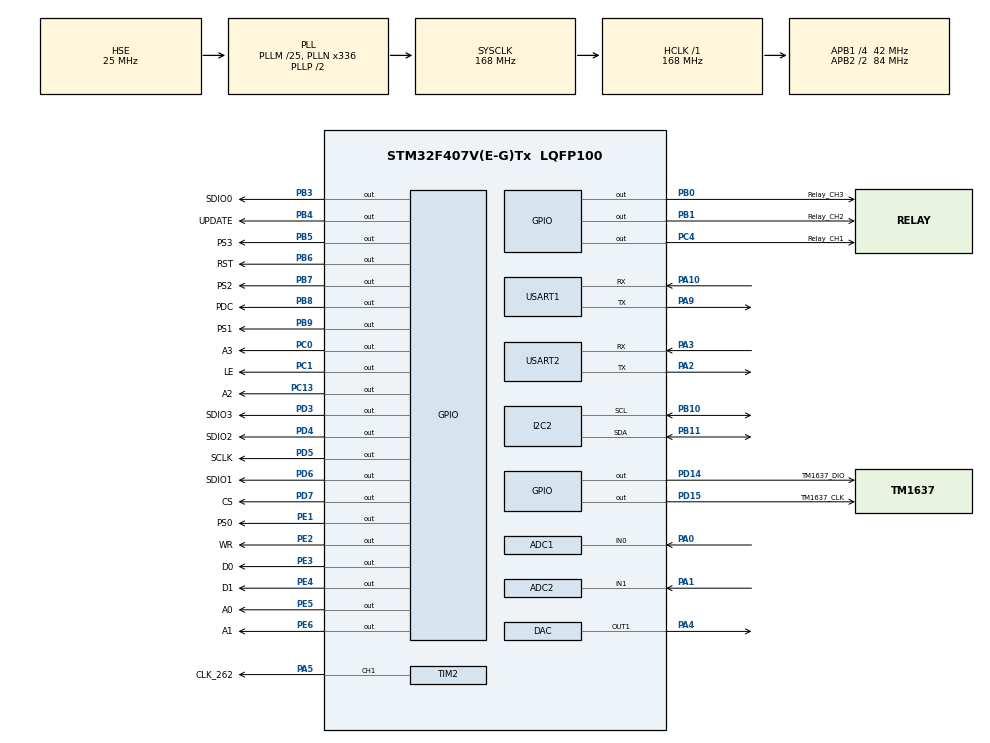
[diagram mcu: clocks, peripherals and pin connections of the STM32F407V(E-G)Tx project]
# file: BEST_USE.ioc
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ADC1.Channel-0\#ChannelRegularConversion=ADC_CHANNEL_0
ADC1.ExternalTrigConv=ADC_EXTERNALTRIGCONV_T3_TRGO
ADC1.NbrOfConversionFlag=1
ADC1.Rank-0\#ChannelRegularConversion=1
ADC1.SamplingTime-0\#ChannelRegularConversion=ADC_SAMPLETIME_3CYCLES
ADC1.master=1
ADC2.Channel-1\#ChannelRegularConversion=ADC_CHANNEL_1
ADC2.ExternalTrigConv=ADC_EXTERNALTRIGCONV_T3_TRGO
ADC2.NbrOfConversionFlag=1
ADC2.Rank-1\#ChannelRegularConversion=1
ADC2.SamplingTime-1\#ChannelRegularConversion=ADC_SAMPLETIME_3CYCLES
DAC.DAC_OutputBuffer=DAC_OUTPUTBUFFER_DISABLE
DAC.DAC_Trigger=DAC_TRIGGER_T6_TRGO
Dma.ADC1.2.Direction=DMA_PERIPH_TO_MEMORY
Dma.ADC1.2.FIFOMode=DMA_FIFOMODE_DISABLE
Dma.ADC1.2.Instance=DMA2_Stream0
Dma.ADC1.2.MemDataAlignment=DMA_MDATAALIGN_HALFWORD
Dma.ADC1.2.MemInc=DMA_MINC_ENABLE
Dma.ADC1.2.Mode=DMA_NORMAL
Dma.ADC1.2.PeriphDataAlignment=DMA_PDATAALIGN_HALFWORD
Dma.ADC1.2.PeriphInc=DMA_PINC_DISABLE
Dma.ADC1.2.Priority=DMA_PRIORITY_LOW
Dma.ADC2.4.Direction=DMA_PERIPH_TO_MEMORY
Dma.ADC2.4.FIFOMode=DMA_FIFOMODE_DISABLE
Dma.ADC2.4.Instance=DMA2_Stream3
Dma.ADC2.4.MemDataAlignment=DMA_MDATAALIGN_HALFWORD
Dma.ADC2.4.MemInc=DMA_MINC_ENABLE
Dma.ADC2.4.Mode=DMA_NORMAL
Dma.ADC2.4.PeriphDataAlignment=DMA_PDATAALIGN_HALFWORD
Dma.ADC2.4.PeriphInc=DMA_PINC_DISABLE
Dma.ADC2.4.Priority=DMA_PRIORITY_LOW
Dma.DAC1.3.Direction=DMA_MEMORY_TO_PERIPH
Dma.DAC1.3.FIFOMode=DMA_FIFOMODE_DISABLE
Dma.DAC1.3.Instance=DMA1_Stream5
Dma.DAC1.3.MemDataAlignment=DMA_MDATAALIGN_HALFWORD
Dma.DAC1.3.MemInc=DMA_MINC_ENABLE
Dma.DAC1.3.Mode=DMA_CIRCULAR
Dma.DAC1.3.PeriphDataAlignment=DMA_PDATAALIGN_HALFWORD
Dma.DAC1.3.PeriphInc=DMA_PINC_DISABLE
Dma.DAC1.3.Priority=DMA_PRIORITY_LOW
Dma.Request0=USART1_RX
Dma.Request1=USART1_TX
Dma.Request2=ADC1
Dma.Request3=DAC1
Dma.Request4=ADC2
Dma.USART1_RX.0.Direction=DMA_PERIPH_TO_MEMORY
Dma.USART1_RX.0.FIFOMode=DMA_FIFOMODE_DISABLE
Dma.USART1_RX.0.Instance=DMA2_Stream2
Dma.USART1_RX.0.MemDataAlignment=DMA_MDATAALIGN_BYTE
Dma.USART1_RX.0.MemInc=DMA_MINC_ENABLE
Dma.USART1_RX.0.Mode=DMA_NORMAL
Dma.USART1_RX.0.PeriphDataAlignment=DMA_PDATAALIGN_BYTE
Dma.USART1_RX.0.PeriphInc=DMA_PINC_DISABLE
Dma.USART1_RX.0.Priority=DMA_PRIORITY_LOW
Dma.USART1_TX.1.Direction=DMA_MEMORY_TO_PERIPH
Dma.USART1_TX.1.FIFOMode=DMA_FIFOMODE_DISABLE
Dma.USART1_TX.1.Instance=DMA2_Stream7
Dma.USART1_TX.1.MemDataAlignment=DMA_MDATAALIGN_BYTE
Dma.USART1_TX.1.MemInc=DMA_MINC_ENABLE
Dma.USART1_TX.1.Mode=DMA_NORMAL
Dma.USART1_TX.1.PeriphDataAlignment=DMA_PDATAALIGN_BYTE
Dma.USART1_TX.1.PeriphInc=DMA_PINC_DISABLE
Dma.USART1_TX.1.Priority=DMA_PRIORITY_LOW
Mcu.Family=STM32F4
Mcu.Name=STM32F407V(E-G)Tx
Mcu.Package=LQFP100
NVIC.DMA1_Stream5_IRQn=true\:0\:0\:false\:false\:true\:false\:true\:true
NVIC.DMA2_Stream0_IRQn=true\:0\:0\:false\:false\:true\:false\:true\:true
NVIC.DMA2_Stream2_IRQn=true\:0\:0\:false\:false\:true\:false\:true\:true
NVIC.DMA2_Stream3_IRQn=true\:0\:0\:false\:false\:true\:false\:true\:true
NVIC.DMA2_Stream7_IRQn=true\:0\:0\:false\:false\:true\:false\:true\:true
NVIC.PriorityGroup=NVIC_PRIORITYGROUP_4
NVIC.USART1_IRQn=true\:0\:0\:false\:false\:true\:true\:true\:true
NVIC.USART2_IRQn=true\:0\:0\:false\:false\:true\:true\:true\:true
PA0-WKUP.Signal=ADCx_IN0
PA1.Signal=ADCx_IN1
PA10.Mode=Asynchronous
PA10.Signal=USART1_RX
PA13.Mode=Serial_Wire
PA13.Signal=SYS_JTMS-SWDIO
PA14.Mode=Serial_Wire
PA14.Signal=SYS_JTCK-SWCLK
PA2.Mode=Asynchronous
PA2.Signal=USART2_TX
PA3.Mode=Asynchronous
PA3.Signal=USART2_RX
PA4.Signal=COMP_DAC1_group
PA5.GPIO_Label=CLK_262
PA5.Signal=S_TIM2_CH1_ETR
PA9.Mode=Asynchronous
PA9.Signal=USART1_TX
PB0.GPIO_Label=Relay_CH3
PB0.Signal=GPIO_Output
PB1.GPIO_Label=Relay_CH2
PB1.Signal=GPIO_Output
PB10.Mode=I2C
PB10.Signal=I2C2_SCL
PB11.Mode=I2C
PB11.Signal=I2C2_SDA
PB3.GPIO_Label=SDIO0
PB3.Signal=GPIO_Output
PB4.GPIO_Label=UPDATE
PB4.Signal=GPIO_Output
PB5.GPIO_Label=PS3
PB5.Signal=GPIO_Output
PB6.GPIO_Label=RST
PB6.Signal=GPIO_Output
PB7.GPIO_Label=PS2
PB7.Signal=GPIO_Output
PB8.GPIO_Label=PDC
PB8.Signal=GPIO_Output
PB9.GPIO_Label=PS1
PB9.Signal=GPIO_Output
PC0.GPIO_Label=A3
PC0.Signal=GPIO_Output
PC1.GPIO_Label=LE
PC1.Signal=GPIO_Output
PC13-ANTI_TAMP.GPIO_Label=A2
PC13-ANTI_TAMP.Signal=GPIO_Output
PC14-OSC32_IN.Mode=LSE-External-Oscillator
PC14-OSC32_IN.Signal=RCC_OSC32_IN
PC15-OSC32_OUT.Mode=LSE-External-Oscillator
PC15-OSC32_OUT.Signal=RCC_OSC32_OUT
PC4.GPIO_Label=Relay_CH1
PC4.Signal=GPIO_Output
PD14.GPIO_Label=TM1637_DIO
PD14.PinState=GPIO_PIN_SET
PD14.Signal=GPIO_Output
PD15.GPIO_Label=TM1637_CLK
PD15.PinState=GPIO_PIN_SET
PD15.Signal=GPIO_Output
PD3.GPIO_Label=SDIO3
PD3.Signal=GPIO_Output
PD4.GPIO_Label=SDIO2
PD4.Signal=GPIO_Output
PD5.GPIO_Label=SCLK
PD5.Signal=GPIO_Output
PD6.GPIO_Label=SDIO1
PD6.Signal=GPIO_Output
PD7.GPIO_Label=CS
PD7.Signal=GPIO_Output
PE1.GPIO_Label=PS0
PE1.Signal=GPIO_Output
PE2.GPIO_Label=WR
PE2.Signal=GPIO_Output
PE3.GPIO_Label=D0
PE3.Signal=GPIO_Output
PE4.GPIO_Label=D1
PE4.Signal=GPIO_Output
PE5.GPIO_Label=A0
PE5.Signal=GPIO_Output
PE6.GPIO_Label=A1
PE6.Signal=GPIO_Output
PH0-OSC_IN.Mode=HSE-External-Oscillator
PH0-OSC_IN.Signal=RCC_OSC_IN
PH1-OSC_OUT.Mode=HSE-External-Oscillator
PH1-OSC_OUT.Signal=RCC_OSC_OUT
ProjectManager.HeapSize=0x200
ProjectManager.StackSize=0x400
ProjectManager.TargetToolchain=MDK-ARM V5.32
RCC.48MHZClocksFreq_Value=84000000
RCC.AHBFreq_Value=168000000
RCC.APB1CLKDivider=RCC_HCLK_DIV4
RCC.APB1Freq_Value=42000000
RCC.APB1TimFreq_Value=84000000
RCC.APB2CLKDivider=RCC_HCLK_DIV2
RCC.APB2Freq_Value=84000000
RCC.APB2TimFreq_Value=168000000
RCC.CortexFreq_Value=168000000
RCC.HCLKFreq_Value=168000000
RCC.HSE_VALUE=25000000
RCC.HSI_VALUE=16000000
RCC.PLLM=25
RCC.PLLN=336
RCC.PLLSourceVirtual=RCC_PLLSOURCE_HSE
RCC.SYSCLKFreq_VALUE=168000000
RCC.SYSCLKSource=RCC_SYSCLKSOURCE_PLLCLK
RCC.VCOOutputFreq_Value=336000000
SH.ADCx_IN0.0=ADC1_IN0,IN0
SH.ADCx_IN1.0=ADC2_IN1,IN1
SH.COMP_DAC1_group.0=DAC_OUT1,DAC_OUT1
SH.S_TIM2_CH1_ETR.0=TIM2_CH1,PWM Generation1 CH1
TIM2.Channel-PWM\ Generation1\ CH1=TIM_CHANNEL_1
TIM2.Period=1142
TIM2.Pulse-PWM\ Generation1\ CH1=300
TIM3.Period=420-1
TIM3.Prescaler=10-1
TIM3.TIM_MasterOutputTrigger=TIM_TRGO_UPDATE
TIM6.Period=84-1
TIM6.TIM_MasterOutputTrigger=TIM_TRGO_UPDATE
USART1.VirtualMode=VM_ASYNC
USART2.VirtualMode=VM_ASYNC
VP_TIM3_VS_ClockSourceINT.Mode=Internal
VP_TIM6_VS_ClockSourceINT.Mode=Enable_Timer
board=custom

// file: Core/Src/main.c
/* USER CODE BEGIN Header */
/**
  ******************************************************************************
  * @file           : main.c
  * @brief          : Main program body
  ******************************************************************************
  * @attention
  *
  * Copyright (c) 2026 STMicroelectronics.
  * All rights reserved.
  *
  * This software is licensed under terms that can be found in the LICENSE file
  * in the root directory of this software component.
  * If no LICENSE file comes with this software, it is provided AS-IS.
  *
  ******************************************************************************
  */
/* USER CODE END Header */
#include "main.h"
#include "adc.h"
#include "dac.h"
#include "dma.h"
#include "i2c.h"
#include "tim.h"
#include "usart.h"
#include "gpio.h"
#include "delay.h"
#include "../MY_DSP/MY_262/MAX262.h"
#include <stdio.h>
#include <stdarg.h>
#include <math.h>
#include "si5351.h"
#include "ad9959.h"
#include "../MY_DSP/MY_Uart/frequency_control.h"
#include "../MY_DSP/MY_Uart/amplitude_control.h"
#include "../MY_DSP/MY_DDS_FUN/9959_scan.h"
#include "../MY_DSP/MY_FFT/Phase.h"
#include "ZPN_Hmi_Pack.h"
#include "ZPN_Uart.h"
#include "ZPN_Hmi.h"

/* USER CODE BEGIN Includes */
extern ADC_HandleTypeDef hadc1;

/* USER CODE END Includes */

/* USER CODE BEGIN PTD */
/* FilterFeature_t and model enum are defined in 9959_scan.h */

/* USER CODE END PTD */

/* USER CODE BEGIN PD */
#define MHZ(x)    ((uint32_t)((x) * 1000000UL))
#define KHZ(x)    ((uint32_t)((x) * 1000UL))
#define HZ(x)     ((uint32_t)(x))
#define CMD_STATE1_CONTROL     0x04  // 状态1的原切换或控制位 (可根据需要调整)
#define CMD_RESET_OUTPUT       0x09
#define CMD_SCAN_IDENTIFY_ALT  0x05  // 扫频启动命令改为 0x05
#define CMD_CLONE_MODE_START   0x06  // 切换到模式4（模仿输出）
#define CMD_SCAN_IDENTIFY_ALT_START 0x05
#define CMD_STATE_OFF          0x00
#define CMD_STATE_ON           0x01
#define DDS_STATE_1           1U
#define DDS_STATE_2           2U
#define DDS_STATE_3           3U  // 扫频状态
#define DDS_STATE_4           4U  // 模仿输出模式 (发挥部分)
#define DEFAULT_FREQUENCY_HZ  50000U
#define DEFAULT_AMPLITUDE_VAL 1023U
#define DEFAULT_PHASE_VAL     0U
#define STATE2_FREQUENCY_HZ   1000U
// 按标定关系 1023 -> 6080mV，2V 对应约 337 码。
#define STATE2_AMPLITUDE_VAL  337U

/* ===== 二维增益打表结构（频率 × 幅值 → DDS控制码）===== */
/* 打表范围：100Hz-3000Hz(步长100Hz)，1000mV-2000mV(步长100mV) */
typedef struct {
    uint32_t freq_hz;      // 频率 (Hz)
    uint16_t amplitude_mv; // 幅值 (mV)
    uint16_t dds_code;     // AD9959 幅度控制码
} GainTableEntry_2D_t;

/* 打表参数定义 */
#define GAIN_TABLE_2D_FREQ_MIN     100U
#define GAIN_TABLE_2D_FREQ_MAX     3000U
#define GAIN_TABLE_2D_FREQ_STEP    100U
#define GAIN_TABLE_2D_FREQ_COUNT   30U    // (3000-100)/100 + 1 = 30

#define GAIN_TABLE_2D_AMP_MIN      1000U
#define GAIN_TABLE_2D_AMP_MAX      2000U
#define GAIN_TABLE_2D_AMP_STEP     100U
#define GAIN_TABLE_2D_AMP_COUNT    11U    // (2000-1000)/100 + 1 = 11

#define GAIN_TABLE_2D_TOTAL        330U   // 30 * 11 = 330

/* 二维增益打表 - 330个数据点 */
/* 组织方式：按频率外层循环，幅值内层循环 */
/* 已按 5_6_400_2700_1V-2V_fittedout1.xlsx 填充：100Hz-3000Hz */
static const GainTableEntry_2D_t g_gain_table_2d[GAIN_TABLE_2D_TOTAL] = {
  /* 100Hz */ {100, 1000, 81}, {100, 1100, 91}, {100, 1200, 93}, {100, 1300, 103}, {100, 1400, 113}, {100, 1500, 123}, {100, 1600, 133}, {100, 1700, 143}, {100, 1800, 145}, {100, 1900, 155}, {100, 2000, 165},
  /* 200Hz */ {200, 1000, 81}, {200, 1100, 91}, {200, 1200, 93}, {200, 1300, 103}, {200, 1400, 113}, {200, 1500, 123}, {200, 1600, 133}, {200, 1700, 143}, {200, 1800, 153}, {200, 1900, 163}, {200, 2000, 165},
  /* 300Hz */ {300, 1000, 81}, {300, 1100, 93}, {300, 1200, 101}, {300, 1300, 111}, {300, 1400, 121}, {300, 1500, 137}, {300, 1600, 144}, {300, 1700, 151}, {300, 1800, 164}, {300, 1900, 171}, {300, 2000, 181},
  /* 400Hz */ {400, 1000, 89}, {400, 1100, 99}, {400, 1200, 109}, {400, 1300, 119}, {400, 1400, 129}, {400, 1500, 145}, {400, 1600, 149}, {400, 1700, 159}, {400, 1800, 169}, {400, 1900, 179}, {400, 2000, 195},
  /* 500Hz */ {500, 1000, 97}, {500, 1100, 112}, {500, 1200, 122}, {500, 1300, 129}, {500, 1400, 145}, {500, 1500, 157}, {500, 1600, 169}, {500, 1700, 175}, {500, 1800, 189}, {500, 1900, 196}, {500, 2000, 205},
  /* 600Hz */ {600, 1000, 109}, {600, 1100, 119}, {600, 1200, 131}, {600, 1300, 144}, {600, 1400, 158}, {600, 1500, 168}, {600, 1600, 179}, {600, 1700, 192}, {600, 1800, 206}, {600, 1900, 211}, {600, 2000, 229},
  /* 700Hz */ {700, 1000, 118}, {700, 1100, 125}, {700, 1200, 147}, {700, 1300, 155}, {700, 1400, 174}, {700, 1500, 185}, {700, 1600, 203}, {700, 1700, 213}, {700, 1800, 222}, {700, 1900, 233}, {700, 2000, 243},
  /* 800Hz */ {800, 1000, 128}, {800, 1100, 143}, {800, 1200, 160}, {800, 1300, 167}, {800, 1400, 191}, {800, 1500, 201}, {800, 1600, 203}, {800, 1700, 227}, {800, 1800, 243}, {800, 1900, 249}, {800, 2000, 266},
  /* 900Hz */ {900, 1000, 137}, {900, 1100, 155}, {900, 1200, 163}, {900, 1300, 186}, {900, 1400, 198}, {900, 1500, 214}, {900, 1600, 226}, {900, 1700, 241}, {900, 1800, 254}, {900, 1900, 278}, {900, 2000, 287},
  /* 1000Hz */ {1000, 1000, 147}, {1000, 1100, 168}, {1000, 1200, 180}, {1000, 1300, 201}, {1000, 1400, 212}, {1000, 1500, 236}, {1000, 1600, 251}, {1000, 1700, 265}, {1000, 1800, 285}, {1000, 1900, 300}, {1000, 2000, 316},
  /* 1100Hz */ {1100, 1000, 154}, {1100, 1100, 177}, {1100, 1200, 194}, {1100, 1300, 213}, {1100, 1400, 228}, {1100, 1500, 255}, {1100, 1600, 270}, {1100, 1700, 286}, {1100, 1800, 296}, {1100, 1900, 321}, {1100, 2000, 342},
  /* 1200Hz */ {1200, 1000, 176}, {1200, 1100, 183}, {1200, 1200, 215}, {1200, 1300, 221}, {1200, 1400, 235}, {1200, 1500, 265}, {1200, 1600, 283}, {1200, 1700, 314}, {1200, 1800, 315}, {1200, 1900, 347}, {1200, 2000, 370},
  /* 1300Hz */ {1300, 1000, 178}, {1300, 1100, 199}, {1300, 1200, 229}, {1300, 1300, 245}, {1300, 1400, 262}, {1300, 1500, 284}, {1300, 1600, 298}, {1300, 1700, 331}, {1300, 1800, 352}, {1300, 1900, 369}, {1300, 2000, 382},
  /* 1400Hz */ {1400, 1000, 186}, {1400, 1100, 213}, {1400, 1200, 240}, {1400, 1300, 258}, {1400, 1400, 285}, {1400, 1500, 314}, {1400, 1600, 323}, {1400, 1700, 358}, {1400, 1800, 363}, {1400, 1900, 408}, {1400, 2000, 424},
  /* 1500Hz */ {1500, 1000, 199}, {1500, 1100, 233}, {1500, 1200, 259}, {1500, 1300, 279}, {1500, 1400, 301}, {1500, 1500, 327}, {1500, 1600, 343}, {1500, 1700, 385}, {1500, 1800, 413}, {1500, 1900, 434}, {1500, 2000, 439},
  /* 1600Hz */ {1600, 1000, 224}, {1600, 1100, 241}, {1600, 1200, 262}, {1600, 1300, 302}, {1600, 1400, 327}, {1600, 1500, 343}, {1600, 1600, 364}, {1600, 1700, 404}, {1600, 1800, 437}, {1600, 1900, 455}, {1600, 2000, 481},
  /* 1700Hz */ {1700, 1000, 241}, {1700, 1100, 268}, {1700, 1200, 275}, {1700, 1300, 316}, {1700, 1400, 350}, {1700, 1500, 375}, {1700, 1600, 398}, {1700, 1700, 423}, {1700, 1800, 449}, {1700, 1900, 490}, {1700, 2000, 500},
  /* 1800Hz */ {1800, 1000, 240}, {1800, 1100, 284}, {1800, 1200, 306}, {1800, 1300, 333}, {1800, 1400, 360}, {1800, 1500, 385}, {1800, 1600, 428}, {1800, 1700, 451}, {1800, 1800, 481}, {1800, 1900, 508}, {1800, 2000, 542},
  /* 1900Hz */ {1900, 1000, 258}, {1900, 1100, 289}, {1900, 1200, 335}, {1900, 1300, 366}, {1900, 1400, 401}, {1900, 1500, 415}, {1900, 1600, 455}, {1900, 1700, 489}, {1900, 1800, 519}, {1900, 1900, 536}, {1900, 2000, 558},
  /* 2000Hz */ {2000, 1000, 283}, {2000, 1100, 323}, {2000, 1200, 331}, {2000, 1300, 391}, {2000, 1400, 409}, {2000, 1500, 441}, {2000, 1600, 477}, {2000, 1700, 507}, {2000, 1800, 558}, {2000, 1900, 573}, {2000, 2000, 594},
  /* 2100Hz */ {2100, 1000, 288}, {2100, 1100, 332}, {2100, 1200, 373}, {2100, 1300, 391}, {2100, 1400, 435}, {2100, 1500, 468}, {2100, 1600, 491}, {2100, 1700, 539}, {2100, 1800, 564}, {2100, 1900, 605}, {2100, 2000, 630},
  /* 2200Hz */ {2200, 1000, 323}, {2200, 1100, 360}, {2200, 1200, 370}, {2200, 1300, 419}, {2200, 1400, 489}, {2200, 1500, 516}, {2200, 1600, 528}, {2200, 1700, 579}, {2200, 1800, 603}, {2200, 1900, 641}, {2200, 2000, 663},
  /* 2300Hz */ {2300, 1000, 339}, {2300, 1100, 356}, {2300, 1200, 423}, {2300, 1300, 443}, {2300, 1400, 471}, {2300, 1500, 529}, {2300, 1600, 553}, {2300, 1700, 608}, {2300, 1800, 649}, {2300, 1900, 678}, {2300, 2000, 705},
  /* 2400Hz */ {2400, 1000, 337}, {2400, 1100, 371}, {2400, 1200, 439}, {2400, 1300, 474}, {2400, 1400, 513}, {2400, 1500, 548}, {2400, 1600, 597}, {2400, 1700, 633}, {2400, 1800, 667}, {2400, 1900, 700}, {2400, 2000, 765},
  /* 2500Hz */ {2500, 1000, 363}, {2500, 1100, 404}, {2500, 1200, 437}, {2500, 1300, 488}, {2500, 1400, 519}, {2500, 1500, 594}, {2500, 1600, 617}, {2500, 1700, 668}, {2500, 1800, 726}, {2500, 1900, 748}, {2500, 2000, 799},
  /* 2600Hz */ {2600, 1000, 389}, {2600, 1100, 433}, {2600, 1200, 471}, {2600, 1300, 531}, {2600, 1400, 581}, {2600, 1500, 613}, {2600, 1600, 647}, {2600, 1700, 698}, {2600, 1800, 753}, {2600, 1900, 767}, {2600, 2000, 856},
  /* 2700Hz */ {2700, 1000, 395}, {2700, 1100, 451}, {2700, 1200, 475}, {2700, 1300, 544}, {2700, 1400, 597}, {2700, 1500, 650}, {2700, 1600, 665}, {2700, 1700, 727}, {2700, 1800, 791}, {2700, 1900, 822}, {2700, 2000, 859},
  /* 2800Hz */ {2800, 1000, 409}, {2800, 1100, 486}, {2800, 1200, 521}, {2800, 1300, 568}, {2800, 1400, 642}, {2800, 1500, 648}, {2800, 1600, 701}, {2800, 1700, 774}, {2800, 1800, 838}, {2800, 1900, 866}, {2800, 2000, 929},
  /* 2900Hz */ {2900, 1000, 423}, {2900, 1100, 484}, {2900, 1200, 521}, {2900, 1300, 601}, {2900, 1400, 639}, {2900, 1500, 699}, {2900, 1600, 735}, {2900, 1700, 809}, {2900, 1800, 863}, {2900, 1900, 915}, {2900, 2000, 951},
  /* 3000Hz */ {3000, 1000, 451}, {3000, 1100, 514}, {3000, 1200, 555}, {3000, 1300, 619}, {3000, 1400, 675}, {3000, 1500, 748}, {3000, 1600, 771}, {3000, 1700, 838}, {3000, 1800, 890}, {3000, 1900, 961}, {3000, 2000, 996}
};

// 扫频与特性提取参数（后续可通过串口配置）
#if 0
#define SWEEP_POINT_COUNT            60U
#define SWEEP_START_FREQ_HZ          1000U
#define SWEEP_STOP_FREQ_HZ           60000U
#define SWEEP_SAMPLES_PER_POINT      32U
#endif
#define SWEEP_SETTLE_MS            100U
#define SWEEP_OUTPUT_AMPLITUDE_CODE  1023U
#define SWEEP_CHANNEL                0U
#define SWEEP_ENABLE_DEMO            0U
#define SWEEP_PRINT_TEXT             0U
#define SWEEP_EDGE_AVG_POINTS        5U
#define mode      2
#define freq      2
#define Q         0.707
#define channal   3
/* USER CODE END PD */

/* USER CODE BEGIN PV */
static uint8_t g_dds_state = DDS_STATE_1;
static uint32_t last_set_vpp_mv = 2000; // 默认 2000mV
static uint32_t g_last_output_freq_hz = DEFAULT_FREQUENCY_HZ; // 记录当前输出频率，供状态2幅值即时更新
static uint32_t debug_freq_val = 0;     // Debug用：观测当前频率
static uint32_t debug_amp_code = 0;     // Debug用：观测当前幅度码值
volatile uint16_t g_dds_code_watch = 0; // Debug用：在Keil Watch中直接观察当前dds_code
static uint32_t g_sweep_freq[SWEEP_POINT_COUNT];
static uint16_t g_sweep_level[SWEEP_POINT_COUNT];
static FilterFeature_t g_filter_feature = {0};

int progress_state = 0; // 0: 扫频 1:adc采集 3.fft
/* Sweep debug/state variables moved into scan module */

/* USER CODE END PV */

void SystemClock_Config(void);
/* USER CODE BEGIN PFP */
/* Sweep functions moved to 9959_scan module (SCAN_RunAndExtract) */

/* USER CODE END PFP */

/* USER CODE BEGIN 0 */
static void DDS_ApplyDefaultOutput(void)
{
  Write_Frequence(0, DEFAULT_FREQUENCY_HZ);
  Write_Amplitude(0, DEFAULT_AMPLITUDE_VAL);
  Write_Phase(0, DEFAULT_PHASE_VAL);
  AD9959_IO_Update();
}

static void Switch_SetByState(uint8_t state)
{
  if (state == DDS_STATE_1)
  {
    HAL_GPIO_WritePin(switch1_GPIO_Port, switch1_Pin, GPIO_PIN_RESET);
    HAL_GPIO_WritePin(switch2_GPIO_Port, switch2_Pin, GPIO_PIN_RESET);
  }
  else if (state == DDS_STATE_2)
  {
    HAL_GPIO_WritePin(switch1_GPIO_Port, switch1_Pin, GPIO_PIN_RESET);
    HAL_GPIO_WritePin(switch2_GPIO_Port, switch2_Pin, GPIO_PIN_SET);
  }
  else if (state == DDS_STATE_3)
  {
    HAL_GPIO_WritePin(switch1_GPIO_Port, switch1_Pin, GPIO_PIN_SET);
    HAL_GPIO_WritePin(switch2_GPIO_Port, switch2_Pin, GPIO_PIN_SET);
  }
  else if (state == DDS_STATE_4)
  {
    // 模仿输出模式下的继电器/开关状态 (根据需要定义)
    HAL_GPIO_WritePin(switch1_GPIO_Port, switch1_Pin, GPIO_PIN_SET);
    HAL_GPIO_WritePin(switch2_GPIO_Port, switch2_Pin, GPIO_PIN_RESET);
  }
}

static uint8_t Try_HandleScanIdentifyCommand(void)
{
  // 检查是否为命令 0x03。注意：gFrequencyCmd.frequency 也可能是 0x03（取决于发送端数据填充方式）
  if (gFrequencyCmd.cmd == CMD_SCAN_IDENTIFY_ALT)
  {
    uint8_t prev_state = g_dds_state;
    const char *model_text = "SCAN_FAIL";
    g_dds_state = DDS_STATE_3;
    Switch_SetByState(g_dds_state);
    HMI_SetText("t9", "SCANNING");
    if (SCAN_RunAndExtract(&g_filter_feature) != 0U)
    {
      model_text = SCAN_ModelTypeToString(g_filter_feature.model_type);
    }
    HMI_SetText("t9", model_text);
    g_dds_state = prev_state;
    Switch_SetByState(g_dds_state);
    DDS_ApplyDefaultOutput();
    gFrequencyCmd.cmd = 0U;
    gFrequencyCmd.frequency = 0U;
    return 1U;
  }
  return 0U;
}

/* Sweep implementation moved to Core/MY_DSP/MY_DDS_FUN/9959_scan.c */

/**
 * @brief 二维打表查询函数：根据频率和幅值查表获取DDS控制码
 * @param freq_hz: 输入频率 (Hz)
 * @param amplitude_mv: 输入幅值 (mV)
 * @return DDS 幅度控制码 (0 表示查表失败或超出范围)
 */
static uint16_t GainTable_2D_Lookup(uint32_t freq_hz, uint16_t amplitude_mv)
{
    // 1. 范围检查
    if (freq_hz < GAIN_TABLE_2D_FREQ_MIN || freq_hz > GAIN_TABLE_2D_FREQ_MAX ||
        amplitude_mv < GAIN_TABLE_2D_AMP_MIN || amplitude_mv > GAIN_TABLE_2D_AMP_MAX)
    {
        return 0;  // 超出范围
    }

    // 2. 频率量化到最近的打表点（四舍五入）
    uint32_t freq_offset = freq_hz - GAIN_TABLE_2D_FREQ_MIN;
    uint16_t freq_idx = (freq_offset + GAIN_TABLE_2D_FREQ_STEP / 2) / GAIN_TABLE_2D_FREQ_STEP;
    if (freq_idx >= GAIN_TABLE_2D_FREQ_COUNT)
        freq_idx = GAIN_TABLE_2D_FREQ_COUNT - 1;

    // 3. 幅值量化到最近的打表点（四舍五入）
    uint16_t amp_offset = amplitude_mv - GAIN_TABLE_2D_AMP_MIN;
    uint16_t amp_idx = (amp_offset + GAIN_TABLE_2D_AMP_STEP / 2) / GAIN_TABLE_2D_AMP_STEP;
    if (amp_idx >= GAIN_TABLE_2D_AMP_COUNT)
        amp_idx = GAIN_TABLE_2D_AMP_COUNT - 1;

    // 4. 一维化索引（行优先：频率外层，幅值内层）
    uint16_t table_index = freq_idx * GAIN_TABLE_2D_AMP_COUNT + amp_idx;

    if (table_index >= GAIN_TABLE_2D_TOTAL)
    {
        return 0;  // 索引越界
    }

    return g_gain_table_2d[table_index].dds_code;
}

/* USER CODE END 0 */

int main(void)
{

  /* MCU Configuration--------------------------------------------------------*/

  /* Reset of all peripherals, Initializes the Flash interface and the Systick. */
  HAL_Init();

  /* Configure the system clock */
  SystemClock_Config();

  /* Initialize all configured peripherals */
  MX_GPIO_Init();
  MX_DMA_Init();
  MX_USART1_UART_Init();
  MX_USART2_UART_Init();
  MX_ADC1_Init();
  MX_ADC2_Init();
  MX_TIM3_Init();
  MX_I2C2_Init();
  MX_DAC_Init();
  MX_TIM6_Init();
  MX_TIM2_Init();

  /* USER CODE BEGIN 2 */

  /* start microsecond delay and TIM2 PWM (fCLK) */
  //si5351_Init();
  delay_init();
  HAL_TIM_PWM_Start(&htim2, TIM_CHANNEL_1);
  /* Start DAC using configured target frequency and amplitude/offset. Default phase 0. */
  DAC_StartSine(DAC_TRI_TARGET_HZ, DAC_TRI_PK_MV, DAC_TRI_OFFSET_MV, 0.0f);

  /* UART retarget test: should print to USART1 if retargeting works */
  printf("UART1 retarget test: Hello from USART1\r\n");

  /* Initialize MAX262 and program three logical channels with same fc/Q */
  MAX262_Init();
  Init_AD9959();
  DDS_ApplyDefaultOutput();
  g_last_output_freq_hz = DEFAULT_FREQUENCY_HZ;
  Switch_SetByState(g_dds_state);

  /* Initialize frequency control module to handle UART commands */
  ZPN_UART_Init();  // ← 启动UART2接收中断
  FrequencyControl_Init();  // ← 注册PACK模板（此步必须在频率控制之前）
  AmplitudeControl_Init();  // ← 共享频率控制的PACK模板

  /* 配置内部采样（TIM3）并启动 FFT DMA 采样 */
  Phase_Set_SamplingRate_Internal(400000U); // 设置 TIM3 触发频率为 400kHz
  FFT_App_Init();

  /* USER CODE END 2 */

  /* Infinite loop */
  /* USER CODE BEGIN WHILE */
  /* Initial DAC Start: 1kHz Sine wave */
  DAC_SetFrequencyAndPhase(1000, 1000, 1650, 0.0f);

  while (1)
  {
    Switch_SetByState(g_dds_state);

    /* FFT processing disabled for debug */
    // FFT_App_Process();
    /* USER CODE END WHILE */

    /* USER CODE BEGIN 3 */
#if SWEEP_ENABLE_DEMO
  (void)SCAN_RunAndExtract(&g_filter_feature);
  // 持续扫频：每轮都会更新 g_filter_feature（结果通过参数返回）。
#endif

    PACK_ParseFromRingBuffer();
    if (Try_HandleScanIdentifyCommand())
    {
      continue;
    }

    /* 状态 1 和状态 2 的逻辑处理 */
    if (g_dds_state == DDS_STATE_1)
    {
      /* 状态 1：同时接收并响应 0x01 (频率) 和 0x02 (幅值) 指令 */
      if (gFrequencyCmd.cmd == CMD_STATE1_CONTROL)
      {
        if ((uint8_t)gFrequencyCmd.frequency == CMD_STATE_OFF)
        {
          g_dds_state = DDS_STATE_2; // 55 04 00 FF 跳转至状态 2
          Switch_SetByState(g_dds_state);
        }
        else if ((uint8_t)gFrequencyCmd.frequency == CMD_STATE_ON)
        {
          // 状态1下的固定参数控制也可以保留
          Write_Frequence(0, STATE2_FREQUENCY_HZ);
          Write_Amplitude(0, STATE2_AMPLITUDE_VAL);
          AD9959_IO_Update();
          g_last_output_freq_hz = STATE2_FREQUENCY_HZ;
        }
        gFrequencyCmd.cmd = 0;
        gFrequencyCmd.frequency = 0;
      }
      else if (gFrequencyCmd.cmd == CMD_SET_FREQUENCY) // 0x01
      {
        if (gFrequencyCmd.frequency > 0)
        {
          Write_Frequence(0, gFrequencyCmd.frequency);
          AD9959_IO_Update();
          g_last_output_freq_hz = gFrequencyCmd.frequency;
        }
        gFrequencyCmd.cmd = 0;
        gFrequencyCmd.frequency = 0;
      }
      else if (gFrequencyCmd.cmd == CMD_SET_AMPLITUDE) // 0x02
      {
        // 状态 1 下，除了设置幅度，还需要记录此时的基准毫伏值供状态 2 使用
        last_set_vpp_mv = gFrequencyCmd.frequency;

        // 状态1改为复用 amplitude_control 模块的幅值设置函数
        AmplitudeControl_SetAmplitude(last_set_vpp_mv);
        gFrequencyCmd.cmd = 0;
        gFrequencyCmd.frequency = 0;
      }
    }
    else if (g_dds_state == DDS_STATE_2)
    {
      /* 状态 2：二维打表补偿逻辑 */
      if (gFrequencyCmd.cmd == CMD_STATE1_CONTROL && (uint8_t)gFrequencyCmd.frequency == CMD_STATE_ON)
      {
        g_dds_state = DDS_STATE_1; // 55 04 01 FF 返回状态 1
        Switch_SetByState(g_dds_state);
        gFrequencyCmd.cmd = 0;
        gFrequencyCmd.frequency = 0;
      }
      else if (gFrequencyCmd.cmd == CMD_SET_FREQUENCY) // 0x01
      {
          uint32_t freq_val = gFrequencyCmd.frequency;

          // 直接查表获取DDS控制码
          uint16_t dds_code = GainTable_2D_Lookup(freq_val, last_set_vpp_mv);

          if (dds_code > 0)
          {
            // 查表命中，应用结果
            Write_Frequence(0, freq_val);
            Write_Amplitude(0, dds_code);
            g_last_output_freq_hz = freq_val;
            g_dds_code_watch = dds_code;

            // 更新 Debug 变量
            debug_freq_val = freq_val;
            debug_amp_code = dds_code;
          }
          else
          {
            // 查表失败（超出范围或表项值为0），清零输出
            debug_freq_val = 0;
            debug_amp_code = 0;
            g_dds_code_watch = 0;
            Write_Frequence(0, 0);
            Write_Amplitude(0, 0);
            g_last_output_freq_hz = 0;
          }

          AD9959_IO_Update();

          gFrequencyCmd.cmd = 0;
          gFrequencyCmd.frequency = 0;
      }
      else if (gFrequencyCmd.cmd == CMD_SET_AMPLITUDE) // 0x02
      {
          // 状态 2 下，更新基准幅值
          last_set_vpp_mv = gFrequencyCmd.frequency;

          // 状态2下幅值命令即时生效：按当前输出频率+新幅值重新查表并更新DDS幅值
          if (g_last_output_freq_hz > 0)
          {
            uint16_t dds_code = GainTable_2D_Lookup(g_last_output_freq_hz, last_set_vpp_mv);
            if (dds_code > 0)
            {
              Write_Amplitude(0, dds_code);
              AD9959_IO_Update();
              g_dds_code_watch = dds_code;
              debug_freq_val = g_last_output_freq_hz;
              debug_amp_code = dds_code;
            }
            else
            {
              // 新幅值超出表范围或未标定时，保持频率并将幅值清零
              Write_Amplitude(0, 0);
              AD9959_IO_Update();
              g_dds_code_watch = 0;
              debug_freq_val = g_last_output_freq_hz;
              debug_amp_code = 0;
            }
          }

          gFrequencyCmd.cmd = 0;
          gFrequencyCmd.frequency = 0;
      }
    }
    else if (g_dds_state == DDS_STATE_4)
    {
       /* 状态 4：模仿输出 (发挥部分) */
       /* 1. 切换通道：ADC1 -> IN0 (捕获发生器), ADC2 -> IN6 (捕获相位差) */
       ADC1_SelectChannel(ADC_CHANNEL_0);
       ADC2_SelectChannel(ADC_CHANNEL_6);

       /* 2. 执行 FFT 处理并手动计算/输出频率 */
       FFT_App_Process();

       static float32_t freq_sum = 0;
       static uint32_t freq_count = 0;
       static uint32_t last_print = 0;

       if (ADC_Flag == 0) // 说明一帧新的数据采样并计算完了
       {
           int max_idx = Find_nMax(FFT_OutputBuf);
           float32_t freq_in = (float32_t)max_idx * SAMPLING_RATE / FFT_LENGTH;

           // 只要有新数据就进行累加，为平均值做准备
           freq_sum += freq_in;
           freq_count++;

           // 只有在计算完成后才允许再次采样（由你的逻辑决定是否需要手动切回采样状态）
           // ADC_Flag = 1; // 如果需要立即开始下一轮采样，可以取消注释
       }

       // 打印逻辑独立于采样计数，严格按时间走
       if (HAL_GetTick() - last_print >= 2000)
       {
           if (freq_count > 0)
           {
               float32_t freq_avg = freq_sum / freq_count;
               printf("%.2f\r\n", freq_avg);

               /* --- 模式4核心：频率驱动DAC/DDS模仿输出 --- */
               // 1. 获取该频率在扫频中记录的幅值 (ADC原始值，对应输入端幅频特性)
               uint16_t adc_level = SCAN_LookupLevelForFreq((uint32_t)freq_avg);

               // 2. 将 ADC 原始值映射到 DAC 或 DDS 的输出幅值
               // 扫频时使用的是 SWEEP_OUTPUT_AMPLITUDE_CODE (1023)，
               // 如果要在 DAC 上复现，可以根据 ADC 满量程 (4095) 对应关系进行比例缩放。
               // 假设扫频时的输入信号在进入ADC前没经过增益调整，直接跟随幅频曲线：
               uint32_t output_vpp_mv = (uint32_t)adc_level * 3300 / 4095; // 粗略转换

               // 3. 更新 DAC 和 AD9959
               // AD9959 通道 0 输出该频率的正弦波 (如果是 100Hz-3kHz 范围内，幅值可由 GainTable_2D_Lookup 补偿)
               uint16_t dds_code = GainTable_2D_Lookup((uint32_t)freq_avg, (uint16_t)output_vpp_mv);
               if (dds_code == 0) dds_code = 1023; // 若超范围则用满幅度

               Write_Frequence(0, (uint32_t)freq_avg);
               Write_Amplitude(0, dds_code);
               AD9959_IO_Update();

               // 同时也让 STM32 内部 DAC 同频输出（如果需要的话，偏移 1.65V）
               DAC_SetFrequencyAndPhase((uint32_t)freq_avg, (uint16_t)output_vpp_mv, 1650, 0.0f);
           }

           // 清零统计量，进入下一个2秒周期
           freq_sum = 0;
           freq_count = 0;
           last_print = HAL_GetTick();
       }

       if (gFrequencyCmd.cmd == CMD_STATE1_CONTROL && (uint8_t)gFrequencyCmd.frequency == CMD_STATE_ON)
       {
         g_dds_state = DDS_STATE_1;
         Switch_SetByState(g_dds_state);
         gFrequencyCmd.cmd = 0;
         gFrequencyCmd.frequency = 0;
       }
       else if (gFrequencyCmd.cmd == CMD_CLONE_MODE_START && (uint8_t)gFrequencyCmd.frequency == CMD_STATE_ON)
       {
         // 接收到 55 06 01 FF 时退出状态4，回到状态1
         g_dds_state = DDS_STATE_1;
         Switch_SetByState(g_dds_state);
         HMI_SetText("t10", "MODE: BASE");
         gFrequencyCmd.cmd = 0;
         gFrequencyCmd.frequency = 0;
       }
    }

    /* 全局命令处理 */
    if (gFrequencyCmd.cmd == CMD_CLONE_MODE_START)
    {
      if ((uint8_t)gFrequencyCmd.frequency == CMD_STATE_OFF)
      {
        // 接收到 55 06 00 FF 进入状态4
        g_dds_state = DDS_STATE_4;
        Switch_SetByState(g_dds_state);
        HMI_SetText("t10", "MODE: CLONE");
      }
      gFrequencyCmd.cmd = 0;
      gFrequencyCmd.frequency = 0;
    }

    if (gFrequencyCmd.cmd == CMD_RESET_OUTPUT)
    {
      if ((uint8_t)gFrequencyCmd.frequency == 0U)
      {
        DDS_ApplyDefaultOutput();
        g_last_output_freq_hz = DEFAULT_FREQUENCY_HZ;
      }
      gFrequencyCmd.cmd = 0;
      gFrequencyCmd.frequency = 0;
    }
  }
  /* USER CODE END 3 */
}

void SystemClock_Config(void)
{
  RCC_OscInitTypeDef RCC_OscInitStruct = {0};
  RCC_ClkInitTypeDef RCC_ClkInitStruct = {0};

  /** Configure the main internal regulator output voltage
  */
  __HAL_RCC_PWR_CLK_ENABLE();
  __HAL_PWR_VOLTAGESCALING_CONFIG(PWR_REGULATOR_VOLTAGE_SCALE1);

  /** Initializes the RCC Oscillators according to the specified parameters
  * in the RCC_OscInitTypeDef structure.
  */
  RCC_OscInitStruct.OscillatorType = RCC_OSCILLATORTYPE_HSE;
  RCC_OscInitStruct.HSEState = RCC_HSE_ON;
  RCC_OscInitStruct.PLL.PLLState = RCC_PLL_ON;
  RCC_OscInitStruct.PLL.PLLSource = RCC_PLLSOURCE_HSE;
  RCC_OscInitStruct.PLL.PLLM = 25;
  RCC_OscInitStruct.PLL.PLLN = 336;
  RCC_OscInitStruct.PLL.PLLP = RCC_PLLP_DIV2;
  RCC_OscInitStruct.PLL.PLLQ = 4;
  if (HAL_RCC_OscConfig(&RCC_OscInitStruct) != HAL_OK)
  {
    Error_Handler();
  }

  /** Initializes the CPU, AHB and APB buses clocks
  */
  RCC_ClkInitStruct.ClockType = RCC_CLOCKTYPE_HCLK|RCC_CLOCKTYPE_SYSCLK
                              |RCC_CLOCKTYPE_PCLK1|RCC_CLOCKTYPE_PCLK2;
  RCC_ClkInitStruct.SYSCLKSource = RCC_SYSCLKSOURCE_PLLCLK;
  RCC_ClkInitStruct.AHBCLKDivider = RCC_SYSCLK_DIV1;
  RCC_ClkInitStruct.APB1CLKDivider = RCC_HCLK_DIV4;
  RCC_ClkInitStruct.APB2CLKDivider = RCC_HCLK_DIV2;

  if (HAL_RCC_ClockConfig(&RCC_ClkInitStruct, FLASH_LATENCY_5) != HAL_OK)
  {
    Error_Handler();
  }
}

void Error_Handler(void)
{
  __disable_irq();
  while (1)
  {
  }
}
